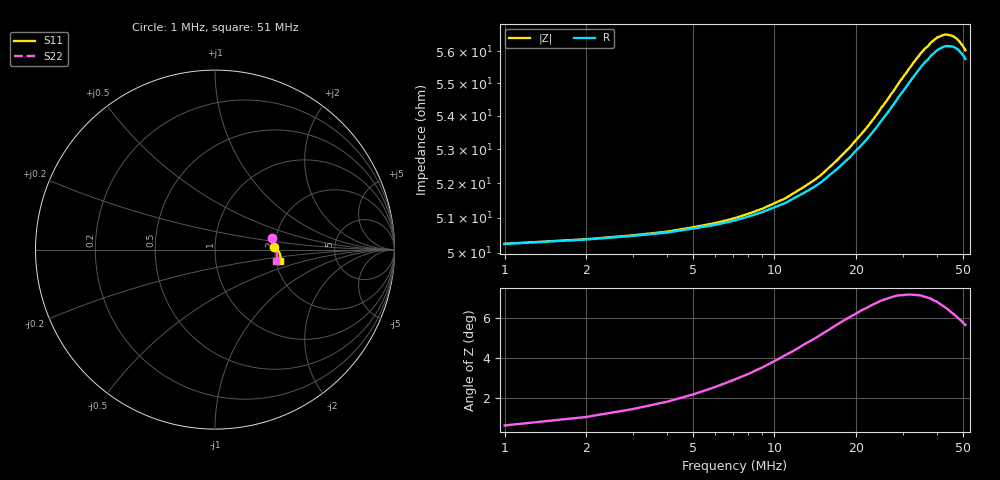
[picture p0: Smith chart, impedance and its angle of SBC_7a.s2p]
# MHz S RI R 50
! S-Parameters data
! Freq  reS11  imS11  reS21  imS21  reS12  imS12  reS22  imS22
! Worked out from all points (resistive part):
!   51 points, 1 MHz to 51 MHz, reference 50 ohm
!   read as one part in series: R = 50.3 ohm at 1 MHz
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1  0.3299 0.0168  0.6575 0.0283  0.6575 0.0283  0.3187 0.0645
2  0.3318 0.00957  0.6599 0.0104  0.66 0.0104  0.3254 0.0344
3  0.3327 0.00713  0.6603 0.00235  0.6602 0.00232  0.3276 0.0237
4  0.3334 0.00587  0.6602 -0.00293  0.6602 -0.00293  0.3289 0.0182
5  0.3341 0.00508  0.6599 -0.00729  0.6601 -0.00732  0.3299 0.0145
6  0.3346 0.00443  0.6597 -0.0112  0.6597 -0.0114  0.3309 0.0117
8  0.336 0.00388  0.6587 -0.0175  0.6588 -0.0177  0.3325 0.00815
10  0.3376 0.00317  0.6575 -0.0236  0.6576 -0.0237  0.334 0.00513
13  0.3401 0.00185  0.6555 -0.0318  0.6555 -0.0319  0.3362 0.0013
18  0.3447 -0.0011  0.651 -0.0437  0.6512 -0.0438  0.3392 -0.00494
21  0.3478 -0.00375  0.6483 -0.0501  0.6485 -0.05  0.341 -0.00893
24  0.3508 -0.00671  0.6455 -0.0558  0.6456 -0.0558  0.3427 -0.0132
26  0.3528 -0.0092  0.6436 -0.0593  0.6437 -0.0593  0.3437 -0.0163
29  0.3559 -0.0135  0.6407 -0.0642  0.6409 -0.0642  0.3449 -0.0212
30  0.3568 -0.0151  0.6398 -0.0656  0.6399 -0.0658  0.3451 -0.0229
31  0.3577 -0.0167  0.639 -0.0671  0.639 -0.067  0.3455 -0.0247
35  0.361 -0.0241  0.6358 -0.0725  0.636 -0.0724  0.346 -0.0322
39  0.3634 -0.0323  0.6334 -0.0768  0.6335 -0.0768  0.3457 -0.04
43  0.3648 -0.0415  0.6318 -0.0809  0.632 -0.0808  0.3442 -0.0481
46  0.3651 -0.049  0.6313 -0.0839  0.6316 -0.0839  0.3424 -0.0543
49  0.3647 -0.0566  0.6316 -0.0869  0.6317 -0.0868  0.3397 -0.0604
51  0.364 -0.0618  0.6319 -0.0889  0.632 -0.0887  0.3376 -0.0645
